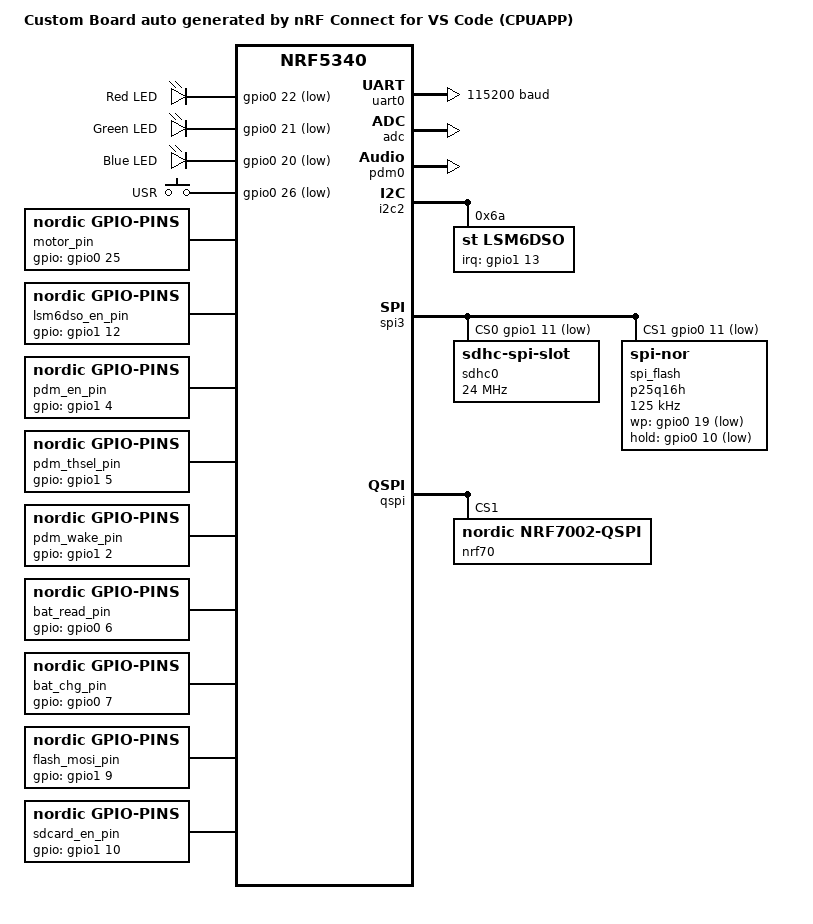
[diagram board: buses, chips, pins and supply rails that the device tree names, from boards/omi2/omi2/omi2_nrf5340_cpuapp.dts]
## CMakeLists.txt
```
cmake_minimum_required(VERSION 3.20.0)
find_package(Zephyr REQUIRED HINTS $ENV{ZEPHYR_BASE})

project(evt_test)

file(GLOB app_sources src/*.c)
target_sources(app PRIVATE ${app_sources})

include_directories(drivers/t5838)
add_subdirectory(drivers)

list(APPEND ZEPHYR_EXTRA_MODULES
  ${CMAKE_CURRENT_SOURCE_DIR}/drivers/t5838
)
```

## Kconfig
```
source "Kconfig.zephyr"

rsource "drivers/Kconfig"
```

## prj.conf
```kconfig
CONFIG_SERIAL=y
CONFIG_CONSOLE=y
CONFIG_UART_CONSOLE=y
CONFIG_SHELL_BACKEND_SERIAL=y

CONFIG_GPIO=y
CONFIG_INPUT=y
CONFIG_I2C=y
CONFIG_I2C_SHELL=y
CONFIG_SPI=y
# CONFIG_SPI_NOR=y
CONFIG_SPI_SHELL=y

CONFIG_PM_DEVICE=y
# CONFIG_PM_DEVICE_RUNTIME=y
CONFIG_ADC=y
CONFIG_ADC_ASYNC=y
CONFIG_ADC_NRFX_SAADC=y
CONFIG_AUDIO=y
CONFIG_AUDIO_DMIC=y
CONFIG_FLASH=y
CONFIG_FLASH_JESD216_API=y
CONFIG_DISK_DRIVER_SDMMC=y
CONFIG_SENSOR=y
CONFIG_REGULATOR=y
CONFIG_ENTROPY_GENERATOR=y

CONFIG_HEAP_MEM_POOL_SIZE=25000

CONFIG_BT=y
CONFIG_BT_SMP=y
CONFIG_BT_PERIPHERAL=y
CONFIG_BT_DIS=y
CONFIG_BT_DIS_PNP=n
CONFIG_BT_BAS=y
CONFIG_BT_DEVICE_NAME="OMI2_shell"
CONFIG_BT_DEVICE_APPEARANCE=768
CONFIG_CBPRINTF_FP_SUPPORT=y

# Enable the BT NUS shell
CONFIG_SHELL=y
CONFIG_SHELL_BT_NUS=y
CONFIG_SHELL_BT_NUS_LOG_LEVEL_DBG=y
CONFIG_SHELL_BACKEND_DUMMY=y

CONFIG_POWEROFF=y

# CONFIG_T5838_LOG_LEVEL_DBG=y
# CONFIG_T5838_AAD_TRIGGER=y

# file system
# CONFIG_MAIN_STACK_SIZE=2048
CONFIG_FILE_SYSTEM=y
CONFIG_FILE_SYSTEM_EXT2=y

# Enable to allow formatting
CONFIG_FILE_SYSTEM_MKFS=y
# CONFIG_TEST_RANDOM_GENERATOR=y

CONFIG_DISK_ACCESS=y
CONFIG_DISK_DRIVER_SDMMC=y

# First block of first partition after GPT
CONFIG_EXT2_DISK_STARTING_SECTOR=2082

# wifi
CONFIG_EARLY_CONSOLE=y

CONFIG_NETWORKING=y
CONFIG_TEST_RANDOM_GENERATOR=y

CONFIG_MAIN_STACK_SIZE=8192
CONFIG_SHELL_STACK_SIZE=5200
CONFIG_NET_TX_STACK_SIZE=2048
CONFIG_NET_RX_STACK_SIZE=2048

CONFIG_NET_PKT_RX_COUNT=10
CONFIG_NET_PKT_TX_COUNT=10
CONFIG_NET_BUF_RX_COUNT=20
CONFIG_NET_BUF_TX_COUNT=20
CONFIG_NET_MAX_CONTEXTS=10
CONFIG_NET_DHCPV4=y

CONFIG_NET_IPV4=y
CONFIG_NET_IPV6=n

CONFIG_NET_TCP=y

CONFIG_INIT_STACKS=y

CONFIG_NET_SHELL=y

CONFIG_NET_STATISTICS=y
CONFIG_NET_STATISTICS_PERIODIC_OUTPUT=n

CONFIG_WIFI=y
CONFIG_WIFI_NRF70=y
CONFIG_NET_L2_WIFI_SHELL=y

CONFIG_MBEDTLS_ENABLE_HEAP=y
CONFIG_MBEDTLS_HEAP_SIZE=70000

# printing of scan results puts pressure on queues in new locking
# design in net_mgmt. So, use a higher timeout for a crowded
# environment.
CONFIG_NET_MGMT_EVENT_QUEUE_TIMEOUT=5000
CONFIG_NET_MGMT_EVENT_QUEUE_SIZE=16

CONFIG_WIFI_FIXED_MAC_ADDRESS="14:5A:FC:5E:37:9C"

# open app log
CONFIG_LOG=y
# CONFIG_NET_LOG=y
# CONFIG_LOG_DEFAULT_LEVEL=3 
# CONFIG_LOG_MODE_IMMEDIATE=y
# CONFIG_SENSOR_LOG_LEVEL_DBG=y
# CONFIG_FLASH_LOG_LEVEL_DBG=y
# CONFIG_FS_LOG_LEVEL_DBG=y
# CONFIG_WIFI_LOG_LEVEL_ERR=y
```

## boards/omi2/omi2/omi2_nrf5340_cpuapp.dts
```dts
/dts-v1/;
#include <nordic/nrf5340_cpuapp_qkaa.dtsi>
#include "omi2-pinctrl.dtsi"
#include <zephyr/dt-bindings/sensor/lsm6dso.h>

/ {
	model = "Custom Board auto generated by nRF Connect for VS Code (CPUAPP)";
	compatible = "omi2,omi2-cpuapp";

	leds {
		compatible = "gpio-leds";
		led_red: led_red {
			label = "Red LED";
			gpios = <&gpio0 22 GPIO_ACTIVE_LOW>;
		};
		led_green: led_green {
			label = "Green LED";
			gpios = <&gpio0 21 GPIO_ACTIVE_LOW>;
		};
		led_blue: led_blue {
			label = "Blue LED";
			gpios = <&gpio0 20 GPIO_ACTIVE_LOW>;
		};
	};
	
	buttons: buttons {
		compatible = "gpio-keys";
		usr_btn: usr-btn {
			gpios = <&gpio0 26 (GPIO_PULL_UP | GPIO_ACTIVE_LOW)>;
			label = "USR";
			zephyr,code = <INPUT_KEY_ENTER>;
		};
	};
	
	motor_pin: motor {
		compatible = "nordic,gpio-pins";
		gpios = <&gpio0 25 GPIO_ACTIVE_HIGH>;
		status = "okay";
	};
	
	lsm6dso_en_pin: lsm6dso_en_pin {
		compatible = "nordic,gpio-pins";
		gpios = <&gpio1 12 GPIO_ACTIVE_HIGH>;
		status = "okay";
	};
	
	pdm_en_pin: pdm_en_pin {
		compatible = "nordic,gpio-pins";
		gpios = <&gpio1 4 GPIO_ACTIVE_HIGH>;
		status = "okay";
	};
	
	pdm_thsel_pin: pdm_thsel_pin {
		compatible = "nordic,gpio-pins";
		gpios = <&gpio1 5 GPIO_ACTIVE_HIGH>;
		status = "okay";
	};
	
	pdm_wake_pin: pdm_wake_pin {
		compatible = "nordic,gpio-pins";
		gpios = <&gpio1 2 GPIO_ACTIVE_HIGH>;
		status = "okay";
	};
	
	bat_read_pin: bat_read_pin {
		compatible = "nordic,gpio-pins";
		gpios = <&gpio0 6 GPIO_ACTIVE_HIGH>;
		status = "okay";
	};
	
	bat_chg_pin: bat_chg_pin {
		compatible = "nordic,gpio-pins";
		gpios = <&gpio0 7 GPIO_ACTIVE_HIGH>;
		status = "okay";
	};
	
	flash_mosi_pin: flash-mosi {
		compatible = "nordic,gpio-pins";
		gpios = <&gpio1 9 GPIO_ACTIVE_HIGH>;
		status = "okay";
	};
	
	sdcard_en_pin: sdcard-en {
		compatible = "nordic,gpio-pins";
		gpios = <&gpio1 10 GPIO_ACTIVE_HIGH>;
		status = "okay";
	};
	
	chosen {
		zephyr,sram = &sram0_image;
		zephyr,flash = &flash0;
		zephyr,code-partition = &slot0_partition;
		zephyr,sram-secure-partition = &sram0_s;
		zephyr,sram-non-secure-partition = &sram0_ns;
		zephyr,console = &uart0;
		zephyr,shell-uart = &uart0;
		zephyr,bt-hci = &bt_hci_ipc0;
		nordic,802154-spinel-ipc = &ipc0;
		zephyr,ieee802154 = &ieee802154;
		zephyr,wifi = &wlan0;
	};
	aliases {
		dmic0 = &pdm0;
		buttons = &buttons;
	};
};

&gpio0 {
	status = "okay";
};

&gpio1 {
	status = "okay";
};

&gpiote {
	status = "okay";
};

&uart0 {
	status = "okay";
	current-speed = <115200>;
	pinctrl-0 = <&uart0_default>;
	pinctrl-1 = <&uart0_sleep>;
	pinctrl-names = "default", "sleep";
};

&adc {
	status = "okay";
};

&clock {
	hfclkaudio-frequency = <12288000>;
};

&pdm0 {
	status = "okay";
	pinctrl-0 = <&pdm0_default>;
	pinctrl-names = "default";
	clock-source = "PCLK32M_HFXO";
	// #address-cells = < 0x1 >;
	// #size-cells = < 0x0 >;
	// t5838: t5838@0 {
	// 	status = "okay";
	// 	compatible = "invensense,t5838";
	// 	thsel-gpios = <&gpio1 5 GPIO_ACTIVE_HIGH>;
	// 	wake-gpios = <&gpio1 2 GPIO_ACTIVE_HIGH>;
	// 	pdmclk-gpios = <&gpio1 1 GPIO_ACTIVE_HIGH>;
	// 	reg = <0x0>;
	// };
};

&i2c2 {
	status = "okay";
	pinctrl-0 = <&i2c2_default>;
	pinctrl-1 = <&i2c2_sleep>;
	pinctrl-names = "default", "sleep";
	
	lsm6dso: lsm6dso@6a {
		compatible = "st,lsm6dso";
		reg = <0x6a>;
		irq-gpios = <&gpio1 13 GPIO_ACTIVE_HIGH>;
		accel-pm = <LSM6DSO_DT_XL_ULP_MODE>;
		gyro-pm = <LSM6DSO_DT_GY_NORMAL_MODE>;
		status = "okay";
	};
};

&spi3 {
	compatible = "nordic,nrf-spim";
	status = "okay";
	pinctrl-0 = <&spi3_default>;
	pinctrl-1 = <&spi3_sleep>;
	pinctrl-names = "default", "sleep";
	cs-gpios = <&gpio1 11 GPIO_ACTIVE_LOW>, <&gpio0 11 GPIO_ACTIVE_LOW>;
	
	sdhc0: sdhc@0 {
		compatible = "zephyr,sdhc-spi-slot";
		reg = <0>;
		status = "okay";
		mmc {
			compatible = "zephyr,sdmmc-disk";
			status = "okay";
		};
		spi-max-frequency = <24000000>;
	};
	
	spi_flash: p25q16h@1 {
		compatible = "jedec,spi-nor";
		reg = <1>;
		spi-max-frequency = <125000>;
		quad-enable-requirements = "S2B1v1";
		wp-gpios = <&gpio0 19 GPIO_ACTIVE_LOW>;
		hold-gpios= <&gpio0 10 GPIO_ACTIVE_LOW>;
		jedec-id = [85 60 15];
		sfdp-bfp = [
		e5 20 f1 ff  ff ff ff 00  44 eb 08 6b  08 3b 80 bb
		ee ff ff ff  ff ff 00 ff  ff ff 00 ff  0c 20 0f 52
		10 d8 08 81
		];
		size = <DT_SIZE_M(16)>;
	};
};

&qspi {
	pinctrl-0 = <&qspi_default>;
	pinctrl-1 = <&qspi_sleep>;
	pinctrl-names = "default", "sleep";
	status = "okay";
	nrf70: nrf7002@1 {
		compatible = "nordic,nrf7002-qspi";
		status = "okay";
		reg = <1>;
		qspi-frequency = <24000000>;
		qspi-quad-mode;
		#include "nrf70_common.dtsi"
		#include "nrf70_common_5g.dtsi"
	};
};
#include "omi2-cpuapp_partitioning.dtsi"
#include "omi2-shared_sram.dtsi"
```

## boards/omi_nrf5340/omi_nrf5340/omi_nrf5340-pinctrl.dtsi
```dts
&pinctrl {
	uart0_default: uart0_default {
		group1 {
			psels = <NRF_PSEL(UART_TX, 0, 3)>;
		};
		group2 {
			psels = <NRF_PSEL(UART_RX, 0, 2)>;
			bias-pull-up;
		};
	};

	uart0_sleep: uart0_sleep {
		group1 {
			psels = <NRF_PSEL(UART_TX, 0, 3)>,
				<NRF_PSEL(UART_RX, 0, 2)>;
			low-power-enable;
		};
	};
};
```

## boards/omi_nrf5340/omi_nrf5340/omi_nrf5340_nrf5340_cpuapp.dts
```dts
/dts-v1/;
#include <nordic/nrf5340_cpuapp_qkaa.dtsi>
#include "omi_nrf5340-pinctrl.dtsi"
#include <zephyr/dt-bindings/sensor/lsm6dso.h>

/ {
	model = "Custom Board auto generated by nRF Connect for VS Code (CPUAPP)";
	compatible = "omi_nrf5340,omi-nrf5340-cpuapp";
	
	leds {
		compatible = "gpio-leds";
		led_red: led_red {
			label = "Red LED";
			gpios = <&gpio0 22 GPIO_ACTIVE_LOW>;
		};
		led_green: led_green {
			label = "Green LED";
			gpios = <&gpio0 21 GPIO_ACTIVE_LOW>;
		};
		led_blue: led_blue {
			label = "Blue LED";
			gpios = <&gpio0 20 GPIO_ACTIVE_LOW>;
		};
	};
	
	buttons: buttons {
		compatible = "gpio-keys";
		usr_btn: usr-btn {
			gpios = <&gpio0 26 (GPIO_PULL_UP | GPIO_ACTIVE_LOW)>;
			label = "USR";
			zephyr,code = <INPUT_KEY_ENTER>;
		};
	};
	
	motor_pin: motor {
		compatible = "nordic,gpio-pins";
		gpios = <&gpio0 25 GPIO_ACTIVE_HIGH>;
		status = "okay";
	};
	
	lsm6dso_en_pin: lsm6dso_en_pin {
		compatible = "nordic,gpio-pins";
		gpios = <&gpio1 12 GPIO_ACTIVE_HIGH>;
		status = "okay";
	};
	
	pdm_en_pin: pdm_en_pin {
		compatible = "nordic,gpio-pins";
		gpios = <&gpio1 4 GPIO_ACTIVE_HIGH>;
		status = "okay";
	};
	
	pdm_thsel_pin: pdm_thsel_pin {
		compatible = "nordic,gpio-pins";
		gpios = <&gpio1 5 GPIO_ACTIVE_HIGH>;
		status = "okay";
	};
	
	pdm_wake_pin: pdm_wake_pin {
		compatible = "nordic,gpio-pins";
		gpios = <&gpio1 2 GPIO_ACTIVE_HIGH>;
		status = "okay";
	};
	
	bat_read_pin: bat_read_pin {
		compatible = "nordic,gpio-pins";
		gpios = <&gpio0 6 GPIO_ACTIVE_HIGH>;
		status = "okay";
	};
	
	bat_chg_pin: bat_chg_pin {
		compatible = "nordic,gpio-pins";
		gpios = <&gpio0 7 GPIO_ACTIVE_HIGH>;
		status = "okay";
	};
	
	flash_mosi_pin: flash-mosi {
		compatible = "nordic,gpio-pins";
		gpios = <&gpio1 9 GPIO_ACTIVE_HIGH>;
		status = "okay";
	};
	
	sdcard_en_pin: sdcard-en {
		compatible = "nordic,gpio-pins";
		gpios = <&gpio1 10 GPIO_ACTIVE_HIGH>;
		status = "okay";
	};
	
	chosen {
		zephyr,sram = &sram0_image;
		zephyr,flash = &flash0;
		zephyr,code-partition = &slot0_partition;
		zephyr,sram-secure-partition = &sram0_s;
		zephyr,sram-non-secure-partition = &sram0_ns;
		zephyr,console = &uart0;
		zephyr,shell-uart = &uart0;
		zephyr,bt-hci = &bt_hci_ipc0;
		nordic,802154-spinel-ipc = &ipc0;
		zephyr,ieee802154 = &ieee802154;
	};
	aliases {
		dmic0 = &pdm0;
		buttons = &buttons;
	};
};

&gpio0 {
	status = "okay";
};

&gpio1 {
	status = "okay";
};

&gpiote {
	status = "okay";
};

&uart0 {
	status = "okay";
	current-speed = <115200>;
	pinctrl-0 = <&uart0_default>;
	pinctrl-1 = <&uart0_sleep>;
	pinctrl-names = "default", "sleep";
};

&adc {
	status = "okay";
};

&clock {
	hfclkaudio-frequency = <12288000>;
};

&pdm0 {
	status = "okay";
	pinctrl-0 = <&pdm0_default>;
	pinctrl-names = "default";
	clock-source = "PCLK32M_HFXO";
	// #address-cells = < 0x1 >;
	// #size-cells = < 0x0 >;
	// t5838: t5838@0 {
	// 	status = "okay";
	// 	compatible = "invensense,t5838";
	// 	thsel-gpios = <&gpio1 5 GPIO_ACTIVE_HIGH>;
	// 	wake-gpios = <&gpio1 2 GPIO_ACTIVE_HIGH>;
	// 	pdmclk-gpios = <&gpio1 1 GPIO_ACTIVE_HIGH>;
	// 	reg = <0x0>;
	// };
};

&i2c2 {
	status = "okay";
	pinctrl-0 = <&i2c2_default>;
	pinctrl-1 = <&i2c2_sleep>;
	pinctrl-names = "default", "sleep";
	
	lsm6dso: lsm6dso@6a {
		compatible = "st,lsm6dso";
		reg = <0x6a>;
		irq-gpios = <&gpio1 13 GPIO_ACTIVE_HIGH>;
		accel-pm = <LSM6DSO_DT_XL_ULP_MODE>;
		gyro-pm = <LSM6DSO_DT_GY_NORMAL_MODE>;
		status = "okay";
	};
};

&spi3 {
	compatible = "nordic,nrf-spim";
	status = "okay";
	pinctrl-0 = <&spi3_default>;
	pinctrl-1 = <&spi3_sleep>;
	pinctrl-names = "default", "sleep";
	cs-gpios = <&gpio1 11 GPIO_ACTIVE_LOW>, <&gpio0 11 GPIO_ACTIVE_LOW>;
	
	sdhc0: sdhc@0 {
		compatible = "zephyr,sdhc-spi-slot";
		reg = <0>;
		status = "okay";
		mmc {
			compatible = "zephyr,sdmmc-disk";
			status = "okay";
		};
		spi-max-frequency = <24000000>;
	};
	
	spi_flash: p25q16h@1 {
		compatible = "jedec,spi-nor";
		reg = <1>;
		spi-max-frequency = <125000>;
		quad-enable-requirements = "S2B1v1";
		wp-gpios = <&gpio0 19 GPIO_ACTIVE_LOW>;
		hold-gpios= <&gpio0 10 GPIO_ACTIVE_LOW>;
		jedec-id = [85 60 15];
		sfdp-bfp = [
		e5 20 f1 ff  ff ff ff 00  44 eb 08 6b  08 3b 80 bb
		ee ff ff ff  ff ff 00 ff  ff ff 00 ff  0c 20 0f 52
		10 d8 08 81
		];
		size = <DT_SIZE_M(16)>;
	};
};

#include "omi_nrf5340-cpuapp_partitioning.dtsi"
#include "omi_nrf5340-shared_sram.dtsi"
```

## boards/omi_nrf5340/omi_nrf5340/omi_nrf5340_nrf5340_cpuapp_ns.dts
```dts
/dts-v1/;
#include <nordic/nrf5340_cpuappns_qkaa.dtsi>
#include "omi_nrf5340-pinctrl.dtsi"

/ {
	model = "Custom Board auto generated by nRF Connect for VS Code (CPUAPP Non-Secure)";
	compatible = "omi_nrf5340,omi-nrf5340-cpuapp-ns";

	chosen {
		zephyr,sram = &sram0_ns;
		zephyr,flash = &flash0;
		zephyr,code-partition = &slot0_ns_partition;
	};
};

#include "omi_nrf5340-cpuapp_partitioning.dtsi"
#include "omi_nrf5340-shared_sram.dtsi"
```

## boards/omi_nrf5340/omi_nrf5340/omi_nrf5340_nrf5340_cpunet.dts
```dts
/dts-v1/;
#include <nordic/nrf5340_cpunet_qkaa.dtsi>
#include "omi_nrf5340-pinctrl.dtsi"

/ {
	model = "Custom Board auto generated by nRF Connect for VS Code";
	compatible = "omi_nrf5340,omi-nrf5340-cpunet";

	chosen {
		zephyr,sram = &sram1;
		zephyr,flash = &flash1;
		zephyr,code-partition = &slot0_partition;
	};
};

&flash1 {
	partitions {
		compatible = "fixed-partitions";
		#address-cells = <1>;
		#size-cells = <1>;

		boot_partition: partition@0 {
			label = "mcuboot";
			reg = <0x00000000 DT_SIZE_K(48)>;
		};

		slot0_partition: partition@c000 {
			label = "image-0";
			reg = <0x0000c000 DT_SIZE_K(92)>;
		};

		slot1_partition: partition@23000 {
			label = "image-1";
			reg = <0x00023000 DT_SIZE_K(92)>;
		};

		storage_partition: partition@3a000 {
			label = "storage";
			reg = <0x0003a000 DT_SIZE_K(24)>;
		};
	};
};

#include "omi_nrf5340-shared_sram.dtsi"
```

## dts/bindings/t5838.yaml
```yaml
description: T5838 microphone driver using modified Nordic PDM

compatible: "invensense,t5838"

include: [base.yaml, pinctrl-device.yaml]

properties:
  reg:
    required: true

  micen-gpios:
    type: phandle-array
    required: false
    description: thsel pin

  thsel-gpios:
    type: phandle-array
    required: true
    description: thsel pin

  wake-gpios:
    type: phandle-array
    required: true
    description: wake pin

  pdmclk-gpios:
    type: phandle-array
    required: true
    description: pdmclk pin
```

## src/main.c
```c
#include <zephyr/kernel.h>
#include <zephyr/shell/shell.h>
#include <zephyr/pm/device_runtime.h>
#include "mic.h"
#include "spi_flash.h"
#include "sd.h"
#include "button.h"
#include "battery.h"

static const struct device *const buttons = DEVICE_DT_GET(DT_ALIAS(buttons));

static int init_module(void)
{
	int ret;
	ret = mic_init();
	if (ret < 0)
	{
		printk("Failed to initialize mic module (%d)\n", ret);
	}

	ret = flash_init();
	if (ret < 0)
	{
		printk("Failed to initialize flash module (%d)\n", ret);
	}

	ret = app_sd_init();
	if (ret < 0)
	{
		printk("Failed to initialize sd module (%d)\n", ret);
	}
	return 0;
}

int main(void)
{
	struct input_event evt;
	int ret;
	bool button_pressed = false;
	if (init_module() < 0)
	{
		shell_execute_cmd(NULL, "sys off");
		return -1;
	}
	// shell_execute_cmd(NULL, "ble on");
	printk("Starting omi2 EVT test...\n");

	ret = pm_device_runtime_get(buttons);
	if (ret < 0) {
		printk("Failed to get device (%d)", ret);
		shell_execute_cmd(NULL, "sys off");
		return 0;
	}

	k_msgq_purge(&input_button);

	while (1) {

		ret = k_msgq_get(&input_button, &evt, K_SECONDS(10));
		if (ret == -EAGAIN) {
			if (!button_pressed && !is_charging)
				shell_execute_cmd(NULL, "sys off");
            continue;
		}

		switch (evt.code) {
		case INPUT_KEY_ENTER:
			if (evt.value == 1) {
				printk("usr button pressed");
				shell_execute_cmd(NULL, "motor on");
				shell_execute_cmd(NULL, "led on 0");
				// shell_execute_cmd(NULL, "led on 1");
				shell_execute_cmd(NULL, "led on 2");
				button_pressed = true;
			} else {
				printk("usr button released");
				shell_execute_cmd(NULL, "motor off");
				shell_execute_cmd(NULL, "led off 0");
				// shell_execute_cmd(NULL, "led off 1");
				shell_execute_cmd(NULL, "led off 2");
				button_pressed = false;
			}
			break;
		}
	}

	ret = pm_device_runtime_put(buttons);
	if (ret < 0) {
		printk("Failed to put device (%d)", ret);
		shell_execute_cmd(NULL, "sys off");
		return 0;
	}
	
	shell_execute_cmd(NULL, "sys off");
	return 0;
}
```

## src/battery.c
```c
#include <stdio.h>
#include <string.h>
#include <zephyr/device.h>
#include <zephyr/drivers/gpio.h>
#include <zephyr/drivers/adc.h>
#include <zephyr/dt-bindings/gpio/nordic-nrf-gpio.h>
#include <zephyr/kernel.h>
#include <zephyr/shell/shell.h>
#include <hal/nrf_saadc.h>
#include "battery.h"

LOG_MODULE_REGISTER(battery);

#define ADC_RESOLUTION 10
#define ADC_GAIN ADC_GAIN_1_3
#define ADC_REFERENCE ADC_REF_INTERNAL
#define ADC_ACQUISITION_TIME ADC_ACQ_TIME(ADC_ACQ_TIME_MICROSECONDS, 10)
#define ADC_1ST_CHANNEL_ID 0
#define ADC_1ST_CHANNEL_INPUT NRF_SAADC_INPUT_AIN0

static const struct device *const adc_dev = DEVICE_DT_GET(DT_NODELABEL(adc));
static const struct gpio_dt_spec power_pin = GPIO_DT_SPEC_GET_OR(DT_NODELABEL(power_pin), gpios, {0});
static const struct gpio_dt_spec bat_read_pin = GPIO_DT_SPEC_GET_OR(DT_NODELABEL(bat_read_pin), gpios, {0});
static const struct gpio_dt_spec bat_chg_pin = GPIO_DT_SPEC_GET_OR(DT_NODELABEL(bat_chg_pin), gpios, {0});

static struct gpio_callback bat_chg_cb;

bool is_charging = false;
static void battrey_input_cb(const struct device *dev, struct gpio_callback *cb, uint32_t pins)
{
    if(gpio_pin_get(bat_chg_pin.port, bat_chg_pin.pin) == 1) {
        shell_execute_cmd(NULL, "led on 1");
        is_charging = true;
    } else{
        shell_execute_cmd(NULL, "led off 1");
        is_charging = false;
    }
	return;
}


static const struct adc_channel_cfg m_1st_channel_cfg = {
    .gain = ADC_GAIN,
    .reference = ADC_REFERENCE,
    .acquisition_time = ADC_ACQUISITION_TIME,
    .channel_id = ADC_1ST_CHANNEL_ID,
#if defined(CONFIG_ADC_CONFIGURABLE_INPUTS)
    .input_positive = ADC_1ST_CHANNEL_INPUT,
#endif
};

const struct adc_sequence_options sequence_opts = {
    .interval_us = 0,
    .callback = NULL,
    .user_data = NULL,
    .extra_samplings = 1,
};

static int adc_sample(uint16_t *m_buffer)
{
    int ret;
    const struct adc_sequence sequence = {
        .options = &sequence_opts,
        .channels = BIT(ADC_1ST_CHANNEL_ID),
        .buffer = m_buffer,
        .buffer_size = sizeof(m_buffer),
        .resolution = ADC_RESOLUTION,
    };

    ret = adc_read(adc_dev, &sequence);
    return ret;
}

static int cmd_bat_get(const struct shell *sh, size_t argc, char **argv)
{
    int err;
    uint16_t m_buffer[2];
    err = gpio_pin_configure_dt(&bat_read_pin, GPIO_OUTPUT | NRF_GPIO_DRIVE_S0H1);
    if (err < 0)
    {
        shell_error(sh, "Failed to configure enable pin (%d)", err);
        return err;
    }
    gpio_pin_set(bat_read_pin.port, bat_read_pin.pin, 0);

    if (!adc_dev)
    {
        shell_error(sh, "device_get_binding ADC_0 failed\n");
        return -1;
    }
    err = adc_channel_setup(adc_dev, &m_1st_channel_cfg);
    if (err)
    {
        shell_error(sh, "Error in adc setup: %d\n", err);
        return err;
    }

    /* Trigger offset calibration
     * As this generates a _DONE and _RESULT event
     * the first result will be incorrect.
     */
    NRF_SAADC_S->TASKS_CALIBRATEOFFSET = 1;

    err = adc_sample(m_buffer);
    if (err)
    {
        shell_error(sh, "Error in adc sampling: %d\n", err);
        return err;
    }

    shell_print(sh, "ADC raw value: %d ", m_buffer[1]);
    shell_print(sh, "Measured voltage: %f", (m_buffer[1] * 1.8) / 1024 * 3);
    gpio_pin_configure_dt(&bat_read_pin, GPIO_INPUT);

    shell_print(sh, "Charging status: %d", is_charging);
    return 0;
}

int bat_init(void)
{ 
    int err;
    err = gpio_pin_configure_dt(&power_pin, GPIO_OUTPUT );
    if (err < 0)
    {
        LOG_ERR("Failed to configure enable pin (%d)", err);
        return err;
    }
    gpio_pin_set_dt(&power_pin, 0);
    
    err = gpio_pin_configure_dt(&bat_read_pin, GPIO_INPUT);
    if (err < 0)
    {
        LOG_ERR("Failed to configure enable pin (%d)", err);
        return err;
    }
    
    err = gpio_pin_configure_dt(&bat_chg_pin, GPIO_INPUT);
    if (err < 0)
    {
        LOG_ERR("Failed to configure enable pin (%d)", err);
        return err;
    }
    gpio_init_callback(&bat_chg_cb, battrey_input_cb, BIT(bat_chg_pin.pin));
    gpio_add_callback(bat_chg_pin.port, &bat_chg_cb);

    return 0;
}

SHELL_STATIC_SUBCMD_SET_CREATE(sub_bat_cmds,
                               SHELL_CMD(get, NULL, "Get battery voltage", cmd_bat_get),
                               SHELL_SUBCMD_SET_END);

SHELL_CMD_REGISTER(bat, &sub_bat_cmds, "Get battery voltage", NULL);
```

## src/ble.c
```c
#include <zephyr/kernel.h>
#include <zephyr/shell/shell.h>

#include <zephyr/bluetooth/bluetooth.h>
#include <zephyr/bluetooth/uuid.h>
#include <zephyr/bluetooth/gatt.h>
#include <zephyr/bluetooth/hci.h>
#include <bluetooth/services/nus.h>
#include <zephyr/logging/log.h>
#include <shell/shell_bt_nus.h>
#include <stdio.h>

LOG_MODULE_REGISTER(app);

#define DEVICE_NAME             CONFIG_BT_DEVICE_NAME
#define DEVICE_NAME_LEN	        (sizeof(DEVICE_NAME) - 1)


static struct bt_conn *current_conn;

static const struct bt_data ad[] = {
	BT_DATA_BYTES(BT_DATA_FLAGS, (BT_LE_AD_GENERAL | BT_LE_AD_NO_BREDR)),
	BT_DATA(BT_DATA_NAME_COMPLETE, DEVICE_NAME, DEVICE_NAME_LEN),
};

static const struct bt_data sd[] = {
	BT_DATA_BYTES(BT_DATA_UUID128_ALL, BT_UUID_NUS_VAL),
};

static void connected(struct bt_conn *conn, uint8_t err)
{
	if (err) {
		LOG_ERR("Connection failed, err 0x%02x %s", err, bt_hci_err_to_str(err));
		return;
	}

	LOG_INF("Connected");
	current_conn = bt_conn_ref(conn);
	shell_bt_nus_enable(conn);
}

static void disconnected(struct bt_conn *conn, uint8_t reason)
{
	LOG_INF("Disconnected, reason 0x%02x %s", reason, bt_hci_err_to_str(reason));

	shell_bt_nus_disable();
	if (current_conn) {
		bt_conn_unref(current_conn);
		current_conn = NULL;
	}
}

static char *log_addr(struct bt_conn *conn)
{
	static char addr[BT_ADDR_LE_STR_LEN];

	bt_addr_le_to_str(bt_conn_get_dst(conn), addr, sizeof(addr));

	return addr;
}

static void __attribute__((unused)) security_changed(struct bt_conn *conn,
						     bt_security_t level,
						     enum bt_security_err err)
{
	char *addr = log_addr(conn);

	if (!err) {
		LOG_INF("Security changed: %s level %u", addr, level);
	} else {
		LOG_INF("Security failed: %s level %u err %d %s", addr, level, err,
			bt_security_err_to_str(err));
	}
}

BT_CONN_CB_DEFINE(conn_callbacks) = {
	.connected    = connected,
	.disconnected = disconnected,
	COND_CODE_1(CONFIG_BT_SMP,
		    (.security_changed = security_changed), ())
};

static void auth_passkey_display(struct bt_conn *conn, unsigned int passkey)
{
	LOG_INF("Passkey for %s: %06u", log_addr(conn), passkey);
}

static void auth_cancel(struct bt_conn *conn)
{
	LOG_INF("Pairing cancelled: %s", log_addr(conn));
}

static void pairing_complete(struct bt_conn *conn, bool bonded)
{
	LOG_INF("Pairing completed: %s, bonded: %d", log_addr(conn), bonded);
}

static void pairing_failed(struct bt_conn *conn, enum bt_security_err reason)
{
	LOG_INF("Pairing failed conn: %s, reason %d %s", log_addr(conn), reason,
		bt_security_err_to_str(reason));
}

static struct bt_conn_auth_cb conn_auth_callbacks = {
	.passkey_display = auth_passkey_display,
	.cancel = auth_cancel,
};

static struct bt_conn_auth_info_cb conn_auth_info_callbacks = {
	.pairing_complete = pairing_complete,
	.pairing_failed = pairing_failed
};

static int cmd_ble_on(void)
{
	int err;

	printk("Starting Bluetooth NUS shell transport example\n");

	if (IS_ENABLED(CONFIG_BT_SMP)) {
		err = bt_conn_auth_cb_register(&conn_auth_callbacks);
		if (err) {
			printk("Failed to register authorization callbacks.\n");
			return 0;
		}

		err = bt_conn_auth_info_cb_register(&conn_auth_info_callbacks);
		if (err) {
			printk("Failed to register authorization info callbacks.\n");
			return 0;
		}
	}

	err = bt_enable(NULL);
	if (err) {
		LOG_ERR("BLE enable failed (err: %d)", err);
		return 0;
	}

	err = shell_bt_nus_init();
	if (err) {
		LOG_ERR("Failed to initialize BT NUS shell (err: %d)", err);
		return 0;
	}

	err = bt_le_adv_start(BT_LE_ADV_CONN, ad, ARRAY_SIZE(ad), sd,
			      ARRAY_SIZE(sd));
	if (err) {
		LOG_ERR("Advertising failed to start (err %d)", err);
		return 0;
	}

	LOG_INF("Bluetooth ready. Advertising started.");

	return 0;
}

static int cmd_ble_off(void)
{
    int err;
    // unregister authorization callbacks
    if (IS_ENABLED(CONFIG_BT_SMP)) {
        bt_conn_auth_cb_register(NULL);
        bt_conn_auth_info_cb_unregister(&conn_auth_info_callbacks);
    }
	err = bt_disable();
	if (err < 0) {
		printk("Bluetooth disable failed (%d)", err);
		return err;
	}
    printk("Bluetooth disabled");
    return 0;
}

SHELL_STATIC_SUBCMD_SET_CREATE(sub_ble_cmds,
                               SHELL_CMD(on, NULL, "Turn on BLE", cmd_ble_on),
                               SHELL_CMD(off, NULL, "Turn off BLE", cmd_ble_off),
                               SHELL_SUBCMD_SET_END);

SHELL_CMD_REGISTER(ble, &sub_ble_cmds, "BLE control commands", NULL);
```

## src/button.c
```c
#include <errno.h>

#include <zephyr/input/input.h>
#include <zephyr/kernel.h>
#include <zephyr/pm/device_runtime.h>
#include <zephyr/shell/shell.h>

static const struct device *const buttons = DEVICE_DT_GET(DT_ALIAS(buttons));
K_MSGQ_DEFINE(input_q, sizeof(struct input_event), 10, 1);
static bool initialized;

static void buttons_input_cb(struct input_event *evt, void *user_data)
{
	ARG_UNUSED(user_data);

	(void)k_msgq_put(&input_q, evt, K_NO_WAIT);
}

INPUT_CALLBACK_DEFINE(buttons, buttons_input_cb, NULL);

static int cmd_buttons_check(const struct shell *sh, size_t argc, char **argv)
{
	int ret;

	ARG_UNUSED(argc);
	ARG_UNUSED(argv);

	ret = pm_device_runtime_get(buttons);
	if (ret < 0) {
		shell_error(sh, "Failed to get device (%d)", ret);
		return 0;
	}

	k_msgq_purge(&input_q);

	while (1) {
		int ret;
		struct input_event evt;

		ret = k_msgq_get(&input_q, &evt, K_SECONDS(5));
		if (ret == -EAGAIN) {
			// shell_error(sh, "No input received");
			// return 0;
            continue;
		}

		switch (evt.code) {
		case INPUT_KEY_ENTER:
			if (evt.value == 1) {
				shell_print(sh, "usr button pressed");
				shell_execute_cmd(NULL, "motor on");
				shell_execute_cmd(NULL, "led on 0");
				shell_execute_cmd(NULL, "led on 1");
				shell_execute_cmd(NULL, "led on 2");
			} else {
				shell_print(sh, "usr button released");
				shell_execute_cmd(NULL, "motor off");
				shell_execute_cmd(NULL, "led off 0");
				shell_execute_cmd(NULL, "led off 1");
				shell_execute_cmd(NULL, "led off 2");
			}
			break;
		}
	}

	ret = pm_device_runtime_put(buttons);
	if (ret < 0) {
		shell_error(sh, "Failed to put device (%d)", ret);
		return 0;
	}

	return 0;
}

SHELL_STATIC_SUBCMD_SET_CREATE(sub_buttons_cmds,
			       SHELL_CMD(check, NULL, "Check buttons", cmd_buttons_check),
			       SHELL_SUBCMD_SET_END);

SHELL_CMD_REGISTER(button, &sub_buttons_cmds, "Buttons", NULL);
```

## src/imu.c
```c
#include <zephyr/logging/log.h>
#include <zephyr/shell/shell.h>

#include <zephyr/kernel.h>
#include <zephyr/device.h>
#include <zephyr/drivers/gpio.h>
#include <zephyr/drivers/i2c.h>
#include <zephyr/drivers/sensor.h>
#include <nrfx.h>
#include <zephyr/dt-bindings/gpio/nordic-nrf-gpio.h>

LOG_MODULE_REGISTER(IMU, CONFIG_SENSOR_LOG_LEVEL);

static const struct device *const i2c_lsm6dso = DEVICE_DT_GET(DT_NODELABEL(lsm6dso));

// need change sdk\modules\hal\st\sensor\stmemsc\lsm6dso_STdC\driver\lsm6dso_reg.h line 195 #define LSM6DSO_ID to 0x6A
static int cmd_imu_get(const struct shell *sh, size_t argc, char **argv)
{
    int ret;
    struct sensor_value accel_data[3];
    struct sensor_value gyro_data[3];
    struct sensor_value odr_attr;
    /* set accel/gyro sampling frequency to 12.5 Hz */
    odr_attr.val1 = 12.5;
    odr_attr.val2 = 0;

    if (!device_is_ready(i2c_lsm6dso)) {
        shell_error(sh, "Device not ready\n");
        return -ENODEV;
    }

    ret = sensor_attr_set(i2c_lsm6dso, SENSOR_CHAN_ACCEL_XYZ, SENSOR_ATTR_SAMPLING_FREQUENCY, &odr_attr);
    if (ret)
    {
        shell_error(sh, "Failed to set accel sampling frequency\n");
        return ret;
    }

    ret = sensor_attr_set(i2c_lsm6dso, SENSOR_CHAN_GYRO_XYZ, SENSOR_ATTR_SAMPLING_FREQUENCY, &odr_attr);
    if (ret)
    {
        shell_error(sh, "Failed to set gyro sampling frequency\n");
        return ret;
    }

    ret = sensor_sample_fetch(i2c_lsm6dso);
    if (ret)
    {
        shell_error(sh, "Failed to fetch sample\n");
        return ret;
    }

    ret = sensor_channel_get(i2c_lsm6dso, SENSOR_CHAN_ACCEL_XYZ, accel_data);
    if (ret)
    {
        shell_error(sh, "Failed to get accel data\n");
        return ret;
    }

    ret = sensor_channel_get(i2c_lsm6dso, SENSOR_CHAN_GYRO_XYZ, gyro_data);
    if (ret)
    {
        shell_error(sh, "Failed to get gyro data\n");
        return ret;
    }

    shell_print(sh, "accel data: %d.%06d, %d.%06d, %d.%06d", accel_data[0].val1, accel_data[0].val2, accel_data[1].val1, accel_data[1].val2, accel_data[2].val1, accel_data[2].val2);
    shell_print(sh, "gyro data: %d.%06d, %d.%06d, %d.%06d", gyro_data[0].val1, gyro_data[0].val2, gyro_data[1].val1, gyro_data[1].val2, gyro_data[2].val1, gyro_data[2].val2);
    return ret;
}

SHELL_STATIC_SUBCMD_SET_CREATE(sub_imu_cmds,
                               SHELL_CMD(get, NULL, "Get IMU data", cmd_imu_get),
                               SHELL_SUBCMD_SET_END);

SHELL_CMD_REGISTER(imu, &sub_imu_cmds, "Get IMU data", NULL);

// define a funsion to make imu power on
static int imu_poweron(void)
{
    int ret;
    static const struct gpio_dt_spec lsm6dso_en = GPIO_DT_SPEC_GET_OR(DT_NODELABEL(lsm6dso_en_pin), gpios, {0});

    LOG_DBG("IMU power on\n");
    ret = gpio_pin_configure_dt(&lsm6dso_en, (GPIO_OUTPUT | NRF_GPIO_DRIVE_S0H1));
    if (ret < 0)
    {
        LOG_ERR("Failed to configure pin %d\n", lsm6dso_en.pin);
        return ret;
    }

    ret = gpio_pin_set_dt(&lsm6dso_en, 1);
    if (ret < 0)
    {
        LOG_ERR("Failed to set pin %d\n", lsm6dso_en.pin);
        return ret;
    }
    k_sleep(K_MSEC(50));

    return 0;
}

SYS_INIT(imu_poweron, POST_KERNEL, 89);
```

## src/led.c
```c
#include <stdio.h>
#include <zephyr/kernel.h>
#include <stdlib.h>
#include <zephyr/drivers/gpio.h>
#include <zephyr/shell/shell.h>

static const struct gpio_dt_spec led_red = GPIO_DT_SPEC_GET_OR(DT_NODELABEL(led_red), gpios, {0});
static const struct gpio_dt_spec led_green = GPIO_DT_SPEC_GET_OR(DT_NODELABEL(led_green), gpios, {0});
static const struct gpio_dt_spec led_blue = GPIO_DT_SPEC_GET_OR(DT_NODELABEL(led_blue), gpios, {0});

static int led_control(int led_num, bool state)
{
    int ret;
    const struct gpio_dt_spec *led_spec;
    switch (led_num)
    {
    case 0:
        led_spec = &led_red;
        break;
    case 1:
        led_spec = &led_green;
        break;
    case 2:
        led_spec = &led_blue;
        break;
    default:
        return -EINVAL;
    }

    ret = gpio_pin_configure_dt(led_spec, GPIO_OUTPUT);
    if (ret < 0)
    {
        return ret;
    }

    ret = gpio_pin_set(led_spec->port, led_spec->pin, state);
    if (ret < 0)
    {
        return ret;
    }

    return 0;
}

static int cmd_led_on(const struct shell *shell, size_t argc, char **argv)
{
    int ret;
    if (argc < 2)
    {
        shell_error(shell, "Usage: %s <led_num>", argv[0]);
        return -EINVAL;
    }

    ret = led_control(atoi(argv[1]), 1);
    if (ret < 0)
    {
        shell_error(shell, "Failed to turn on LED %d (%d)", atoi(argv[1]), ret);
        return ret;
    }

    return 0;
}

static int cmd_led_off(const struct shell *shell, size_t argc, char **argv)
{
    int ret;
    if (argc < 2)
    {
        shell_error(shell, "Usage: %s <led_num>", argv[0]);
        return -EINVAL;
    }

    ret = led_control(atoi(argv[1]), 0);
    if (ret < 0)
    {
        shell_error(shell, "Failed to turn off LED %d (%d)", atoi(argv[1]), ret);
        return ret;
    }

    return 0;
}

SHELL_STATIC_SUBCMD_SET_CREATE(sub_led_cmds,
                               SHELL_CMD_ARG(on, NULL, "Turn on LED", cmd_led_on, 2, 0),
                               SHELL_CMD_ARG(off, NULL, "Turn off LED", cmd_led_off, 2, 0),
                               SHELL_SUBCMD_SET_END);

SHELL_CMD_REGISTER(led, &sub_led_cmds, "led", NULL);
```

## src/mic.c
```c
#include <stdio.h>
#include <stdlib.h>
#include <zephyr/device.h>
#include <zephyr/drivers/gpio.h>
#include <zephyr/kernel.h>
#include <zephyr/audio/dmic.h>
#include <zephyr/shell/shell.h>
#include <zephyr/sys/util.h>

#define BITS_PER_BYTE 8

#define SAMPLE_RATE_HZ 16000
#define SAMPLE_BITS 16
#define TIMEOUT_MS 1000
#define CAPTURE_MS 500
#define BLOCK_SIZE ((SAMPLE_BITS / BITS_PER_BYTE) * (SAMPLE_RATE_HZ * CAPTURE_MS) / 1000)
#define BLOCK_COUNT 8

static const struct device *const dmic = DEVICE_DT_GET(DT_ALIAS(dmic0));
static const struct gpio_dt_spec mic_en = GPIO_DT_SPEC_GET_OR(DT_NODELABEL(pdm_en_pin), gpios, {0});
static const struct gpio_dt_spec mic_thsel = GPIO_DT_SPEC_GET_OR(DT_NODELABEL(pdm_thsel_pin), gpios, {0});
static const struct gpio_dt_spec mic_wake = GPIO_DT_SPEC_GET_OR(DT_NODELABEL(pdm_wake_pin), gpios, {0});

K_MEM_SLAB_DEFINE_STATIC(mem_slab, BLOCK_SIZE, BLOCK_COUNT, 4);

static struct pcm_stream_cfg stream = {
	.pcm_rate = SAMPLE_RATE_HZ,
	.pcm_width = SAMPLE_BITS,
	.block_size = BLOCK_SIZE,
	.mem_slab = &mem_slab,
};

static struct dmic_cfg cfg = {
	.io =
		{
			.min_pdm_clk_freq = 1000000,
			.max_pdm_clk_freq = 3500000,
			.min_pdm_clk_dc = 40,
			.max_pdm_clk_dc = 60,
		},
	.streams = &stream,
	.channel =
		{
			.req_num_streams = 1,
			.req_num_chan = 2,
		},
};

static bool initialized;

static int cmd_mic_capture(const struct shell *sh, size_t argc, char **argv)
{
	int ret, time = 1;
	void *buffer = NULL;
	uint32_t size;

	if (argc > 1)
	{
		char *endptr;
		time = strtol(argv[1], &endptr, 10);
		if (*endptr != '\0' || time <= 0)
		{
			shell_error(sh, "Invalid time argument");
			return -EINVAL;
		}
		time *= 2;
	}

	if (!initialized)
	{
		shell_error(sh, "Microphone module not initialized");
		return -EPERM;
	}

	// Configure and enable microphone pins
	ret = gpio_pin_configure_dt(&mic_en, GPIO_OUTPUT);
	if (ret < 0)
	{
		shell_error(sh, "Failed to configure microphone enable pin (%d)", ret);
		return ret;
	}

	gpio_pin_set(mic_en.port, mic_en.pin, 1);

	shell_print(sh, "S");
	ret = dmic_configure(dmic, &cfg);
	if (ret < 0)
	{
		shell_error(sh, "Failed to configure DMIC(%d)", ret);
		goto cleanup;
	}

	for (int i = 0; i < time; i++)
	{
		ret = dmic_trigger(dmic, DMIC_TRIGGER_START);
		if (ret < 0)
		{
			shell_error(sh, "START trigger failed (%d)", ret);
			goto cleanup;
		}
		
		ret = dmic_read(dmic, 0, &buffer, &size, TIMEOUT_MS);
		if (ret < 0)
		{
			shell_error(sh, "DMIC read failed (%d)", ret);
			dmic_trigger(dmic, DMIC_TRIGGER_STOP);
			goto cleanup;
		}

		// Process captured data
		for (int j = 0; j < size / sizeof(int16_t); j++)
		{
			shell_print(sh, "%d", ((int16_t *)buffer)[j]);
		}

		k_mem_slab_free(&mem_slab, buffer);
		buffer = NULL;
		ret = dmic_trigger(dmic, DMIC_TRIGGER_STOP);
		if (ret < 0)
		{
			shell_error(sh, "STOP trigger failed (%d)", ret);
		}
	}

cleanup:
	if (buffer)
	{
		k_mem_slab_free(&mem_slab, buffer);
	}
	shell_print(sh, "E");
	gpio_pin_set(mic_en.port, mic_en.pin, 0);

	return ret;
}

SHELL_STATIC_SUBCMD_SET_CREATE(sub_mic_cmds,
							   SHELL_CMD(capture, NULL, "Capture microphone data", cmd_mic_capture),
							   SHELL_SUBCMD_SET_END);

SHELL_CMD_REGISTER(mic, &sub_mic_cmds, "Microphone", NULL);

int mic_init(void)
{
	if (!device_is_ready(dmic))
	{
		return -ENODEV;
	}

	gpio_pin_configure_dt(&mic_thsel, GPIO_OUTPUT);
	gpio_pin_set(mic_thsel.port, mic_thsel.pin, 1);
	gpio_pin_configure_dt(&mic_wake, GPIO_OUTPUT);
	gpio_pin_set(mic_wake.port, mic_wake.pin, 1);

	cfg.channel.req_chan_map_lo = dmic_build_channel_map(0, 0, PDM_CHAN_LEFT) | 
	dmic_build_channel_map(1, 0, PDM_CHAN_RIGHT);

	initialized = true;

	return 0;
}
```

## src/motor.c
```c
#include <zephyr/logging/log.h>
#include <zephyr/shell/shell.h>
#include <zephyr/drivers/gpio.h>
#include <zephyr/kernel.h> 

static const struct gpio_dt_spec motor =
   GPIO_DT_SPEC_GET_OR(DT_NODELABEL(motor_pin), gpios, {0});

static struct k_work_delayable motor_off_work;

static void motor_off_work_handler(struct k_work *work)
{
    gpio_pin_set_dt(&motor, 0);
}

static int cmd_motor_on(const struct shell *shell, size_t argc, char **argv)
{
    shell_print(shell, "motor on\n");
    gpio_pin_configure_dt(&motor, GPIO_OUTPUT);
    gpio_pin_set_dt(&motor, 1);

    // schedule the delayable work to turn off motor after 100ms
    k_work_schedule(&motor_off_work, K_MSEC(50));

    return 0;
}

static int cmd_motor_off(const struct shell *shell, size_t argc, char **argv)
{
    shell_print(shell, "motor off\n");
    gpio_pin_configure_dt(&motor, GPIO_OUTPUT);
    gpio_pin_set_dt(&motor, 0);

    // remove the delayable work if it is scheduled
    k_work_cancel_delayable(&motor_off_work);

    return 0;
}

static void motor_init(void)
{
    k_work_init_delayable(&motor_off_work, motor_off_work_handler);
}

SHELL_STATIC_SUBCMD_SET_CREATE(sub_motor_cmds,
                               SHELL_CMD_ARG(on, NULL, "Turn on motor", cmd_motor_on, 1, 0),
                               SHELL_CMD_ARG(off, NULL, "Turn off motor", cmd_motor_off, 1, 0),
                               SHELL_SUBCMD_SET_END);

SHELL_CMD_REGISTER(motor, &sub_motor_cmds, "motor", NULL);

SYS_INIT(motor_init, APPLICATION, CONFIG_APPLICATION_INIT_PRIORITY);
```

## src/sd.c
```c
#include <zephyr/kernel.h>
#include <zephyr/device.h>
#include <zephyr/drivers/gpio.h>
#include <zephyr/storage/disk_access.h>
#include <zephyr/logging/log.h>
#include <zephyr/fs/fs.h>
#include <zephyr/fs/ext2.h>
#include <zephyr/shell/shell.h>

#define DISK_DRIVE_NAME "SDMMC"
#define DISK_MOUNT_PT "/ext"

static const struct gpio_dt_spec sd_en = GPIO_DT_SPEC_GET_OR(DT_NODELABEL(sdcard_en_pin), gpios, {0});

static struct fs_mount_t mp = {
	.type = FS_EXT2,
	.flags = FS_MOUNT_FLAG_NO_FORMAT,
	.storage_dev = (void *)DISK_DRIVE_NAME,
	.mnt_point = "/ext",
};

#define FS_RET_OK 0

static const char *disk_mount_pt = DISK_MOUNT_PT;
static bool is_mounted = false;
/* List dir entry by path
 *
 * @param path Absolute path to list
 *
 * @return Negative errno code on error, number of listed entries on
 *         success.
 */
static int cmd_lsdir(const struct shell *shell, size_t argc, char **argv)
{
	int res;
	struct fs_dir_t dirp;
	static struct fs_dirent entry;
	int count = 0;

	if (argc < 2)
	{
		return -ENOEXEC;
	}

	const char *path = argv[1];

	if (!is_mounted)
	{
		shell_error(shell, "Disk is not mounted.\n");
		return -ENOEXEC;
	}

	fs_dir_t_init(&dirp);

	/* Verify fs_opendir() */
	res = fs_opendir(&dirp, path);
	if (res)
	{
		shell_error(shell, "Error opening dir %s [%d]\n", path, res);
		return res;
	}

	shell_print(shell, "\nListing dir %s ...\n", path);
	for (;;)
	{
		/* Verify fs_readdir() */
		res = fs_readdir(&dirp, &entry);

		/* entry.name[0] == 0 means end-of-dir */
		if (res || entry.name[0] == 0)
		{
			break;
		}

		if (entry.type == FS_DIR_ENTRY_DIR)
		{
			shell_error(shell, "[DIR ] %s\n", entry.name);
		}
		else
		{
			shell_error(shell, "[FILE] %s (size = %zu)\n",
						entry.name, entry.size);
		}
		count++;
	}

	/* Verify fs_closedir() */
	fs_closedir(&dirp);
	if (res == 0)
	{
		res = count;
	}

	return res;
}

static int cmd_mount(const struct shell *shell, size_t argc, char **argv)
{
	int res;
	do
	{
		static const char *disk_pdrv = DISK_DRIVE_NAME;
		uint64_t memory_size_mb;
		uint32_t block_count;
		uint32_t block_size;

		if (disk_access_ioctl(disk_pdrv,
							  DISK_IOCTL_CTRL_INIT, NULL) != 0)
		{
			shell_error(shell, "Storage init ERROR!");
			break;
		}

		if (disk_access_ioctl(disk_pdrv,
							  DISK_IOCTL_GET_SECTOR_COUNT, &block_count))
		{
			shell_error(shell, "Unable to get sector count");
			break;
		}
		shell_print(shell, "Block count %u", block_count);

		if (disk_access_ioctl(disk_pdrv,
							  DISK_IOCTL_GET_SECTOR_SIZE, &block_size))
		{
			shell_error(shell, "Unable to get sector size");
			break;
		}
		printk("Sector size %u\n", block_size);

		memory_size_mb = (uint64_t)block_count * block_size;
		printk("Memory Size(MB) %u\n", (uint32_t)(memory_size_mb >> 20));

		if (disk_access_ioctl(disk_pdrv,
							  DISK_IOCTL_CTRL_DEINIT, NULL) != 0)
		{
			shell_error(shell, "Storage deinit ERROR!");
			break;
		}
	} while (0);
	mp.mnt_point = disk_mount_pt;

	if (is_mounted)
	{
		shell_print(shell, "Disk already mounted.\n");
		return 0;
	}

	if (fs_mount(&mp) != FS_RET_OK)
	{
		shell_print(shell, "File system not found, creating file system...\n");
		res = fs_mkfs(FS_EXT2, (uintptr_t)mp.storage_dev, NULL, 0);
		if (res != 0)
		{
			shell_error(shell, "Error formatting filesystem [%d]", res);
			return res;
		}

		res = fs_mount(&mp);
		if (res != FS_RET_OK)
		{
			shell_print(shell, "Error mounting disk %d.\n", res);
			return res;
		}
	}

	shell_print(shell, "Disk mounted.\n");
	is_mounted = true;

	return res;
}

static int cmd_unmount(const struct shell *shell, size_t argc, char **argv)
{
	int res;
	res = fs_unmount(&mp);
	if (res == 0)
	{
		is_mounted = false;
		shell_print(shell, "Disk unmounted.\n");
	}
	else
	{
		shell_print(shell, "Error unmounting disk.\n");
	}
	return res;
}

static int cmd_write(const struct shell *shell, size_t argc, char **argv)
{
	int res;
	char path[256];

	if (!is_mounted)
	{
		shell_error(shell, "Disk is not mounted.\n");
		return -ENOEXEC;
	}
	if (argc < 3)
	{
		shell_error(shell, "Usage: write <file> <data>\n");
		return -ENOEXEC;
	}

	snprintf(path, sizeof(path), "%s/%s", DISK_MOUNT_PT, argv[1]);
	const char *data = argv[2];

	struct fs_file_t file_handle;
	fs_file_t_init(&file_handle);
	res = fs_open(&file_handle, path, FS_O_CREATE | FS_O_WRITE | FS_O_APPEND);
	if (res != 0) {
		shell_error(shell, "Error opening file %s\n", path);
		return res;
	}

	char *write_buffer;
	size_t data_len = strlen(data);
	write_buffer = k_malloc(data_len + 2); // +2 for \n and \0
	if (write_buffer == NULL) {
		fs_close(&file_handle);
		return -ENOMEM;
	}

	snprintf(write_buffer, data_len + 2, "%s\n", data);
	res = fs_write(&file_handle, write_buffer, strlen(write_buffer));
	k_free(write_buffer);
	fs_close(&file_handle);

	if (res >= 0) {
		shell_print(shell, "Write file %s success\n", path);
	}
	return res;
}

static int cmd_read(const struct shell *shell, size_t argc, char **argv)
{
	int res;
	char path[256];

	if (!is_mounted)
	{
		shell_error(shell, "Disk is not mounted.\n");
		return -ENOEXEC;
	}
	if (argc < 2)
	{
		shell_error(shell, "Usage: read <file>\n");
		return -ENOEXEC;
	}

	snprintf(path, sizeof(path), "%s/%s", DISK_MOUNT_PT, argv[1]);
	struct fs_file_t file;
	fs_file_t_init(&file);
	res = fs_open(&file, path, FS_O_READ);
	if (res != 0)
	{
		shell_error(shell, "Error opening file %s\n", path);
		return res;
	}

	char data[256];
	size_t bytes_read;
	while ((bytes_read = fs_read(&file, data, sizeof(data))) > 0)
	{
		shell_print(shell, "%s", data);
	}


	fs_close(&file);
	return 0;
}

static int cmd_rm(const struct shell *shell, size_t argc, char **argv)
{
	int res;
	char path[256];

	if (!is_mounted) {
		shell_error(shell, "Disk is not mounted.\n");
		return -ENOEXEC;
	}
	if (argc < 2) {
		shell_error(shell, "Usage: rm <file>\n");
		return -ENOEXEC;
	}

	snprintf(path, sizeof(path), "%s/%s", DISK_MOUNT_PT, argv[1]);
	res = fs_unlink(path);
	if (res != 0) {
		shell_error(shell, "Error removing file %s\n", path);
		return res;
	}
	shell_print(shell, "File %s removed\n", path);
	return 0;
}

static int cmd_readline(const struct shell *shell, size_t argc, char **argv)
{
	int res;
	char path[256];
	int line_number;

	if (!is_mounted) {
		shell_error(shell, "Disk is not mounted.\n");
		return -ENOEXEC;
	}
	if (argc < 3) {
		shell_error(shell, "Usage: readline <file> <line_number>\n");
		return -ENOEXEC;
	}

	snprintf(path, sizeof(path), "%s/%s", DISK_MOUNT_PT, argv[1]);
	line_number = atoi(argv[2]);

	struct fs_file_t file;
	fs_file_t_init(&file);
	res = fs_open(&file, path, FS_O_READ);
	if (res != 0) {
		shell_error(shell, "Error opening file %s\n", path);
		return res;
	}

	char buffer[256];
	int current_line = 1;
	char *pos = buffer;
	size_t bytes_read;

	while ((bytes_read = fs_read(&file, pos, 1)) > 0) {
		if (*pos == '\n') {
			if (current_line == line_number) {
				*pos = '\0';
				shell_print(shell, "Line %d: %s", line_number, buffer);
				fs_close(&file);
				return 0;
			}
			current_line++;
			pos = buffer;
		} else {
			pos++;
			if (pos - buffer >= sizeof(buffer) - 1) {
				shell_error(shell, "Line too long\n");
				fs_close(&file);
				return -ENOMEM;
			}
		}
	}

	fs_close(&file);
	if (current_line < line_number) {
		shell_error(shell, "Line number %d not found\n", line_number);
		return -EINVAL;
	}
	return 0;
}

SHELL_STATIC_SUBCMD_SET_CREATE(sub_sd_cmds,
							   SHELL_CMD_ARG(ls, NULL, "list dir", cmd_lsdir, 2, 0),
							   SHELL_CMD_ARG(mount, NULL, "mount sd", cmd_mount, 1, 0),
							   SHELL_CMD_ARG(unmount, NULL, "unmount sd", cmd_unmount, 1, 0),
							   SHELL_CMD_ARG(write, NULL, "write to file", cmd_write, 3, 0),
							   SHELL_CMD_ARG(read, NULL, "read from file", cmd_read, 2, 0),
							   SHELL_CMD_ARG(rm, NULL, "remove file", cmd_rm, 2, 0),
							   SHELL_CMD_ARG(readline, NULL, "read specific line from file", cmd_readline, 3, 0),
							   SHELL_SUBCMD_SET_END);

SHELL_CMD_REGISTER(sd, &sub_sd_cmds, "sd", NULL);

int app_sd_init(void)
{
	int ret;

	gpio_pin_configure_dt(&sd_en, GPIO_OUTPUT);
	ret = gpio_pin_set_dt(&sd_en, 1);
	return ret;
}
```

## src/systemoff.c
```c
#include <inttypes.h>
#include <stdio.h>

#include <zephyr/device.h>
#include <zephyr/drivers/gpio.h>
#include <zephyr/kernel.h>
#include <zephyr/pm/device.h>
#include <zephyr/sys/poweroff.h>
#include <zephyr/sys/util.h>
#include <zephyr/shell/shell.h>

static const struct gpio_dt_spec usr_btn = GPIO_DT_SPEC_GET_OR(DT_NODELABEL(usr_btn), gpios, {0});

 static int cmd_sys_off(const struct shell *sh, size_t argc, char **argv)
 {
     int rc;
#if defined(CONFIG_CONSOLE)
     const struct device *const cons = DEVICE_DT_GET(DT_CHOSEN(zephyr_console));

     if (!device_is_ready(cons))
     {
         shell_error(sh, "%s: device not ready.\n", cons->name);
         return 0;
     }
#endif
     shell_print(sh, "\n%s system off demo\n", CONFIG_BOARD);

     /* configure usr_btn as input, interrupt as level active to allow wake-up */
     rc = gpio_pin_configure_dt(&usr_btn, GPIO_INPUT);
     if (rc < 0)
     {
         shell_error(sh, "Could not configure usr_btn GPIO (%d)\n", rc);
         return 0;
     }

     rc = gpio_pin_interrupt_configure_dt(&usr_btn, GPIO_INT_LEVEL_LOW);
     if (rc < 0)
     {
         shell_error(sh, "Could not configure usr_btn GPIO interrupt (%d)\n", rc);
         return 0;
     }

     shell_print(sh, "Entering system off; press usr_btn to restart\n");
#if defined(CONFIG_CONSOLE)
     rc = pm_device_action_run(cons, PM_DEVICE_ACTION_SUSPEND);
     if (rc < 0)
     {
         shell_error(sh, "Could not suspend console (%d)\n", rc);
         return 0;
     }
#endif
     sys_poweroff();

     return 0;
 }

 SHELL_STATIC_SUBCMD_SET_CREATE(sub_systemoff_cmds,
                                SHELL_CMD(off, NULL, "System off", cmd_sys_off),
                                SHELL_SUBCMD_SET_END);

 SHELL_CMD_REGISTER(sys, &sub_systemoff_cmds, "System off", NULL);
```
